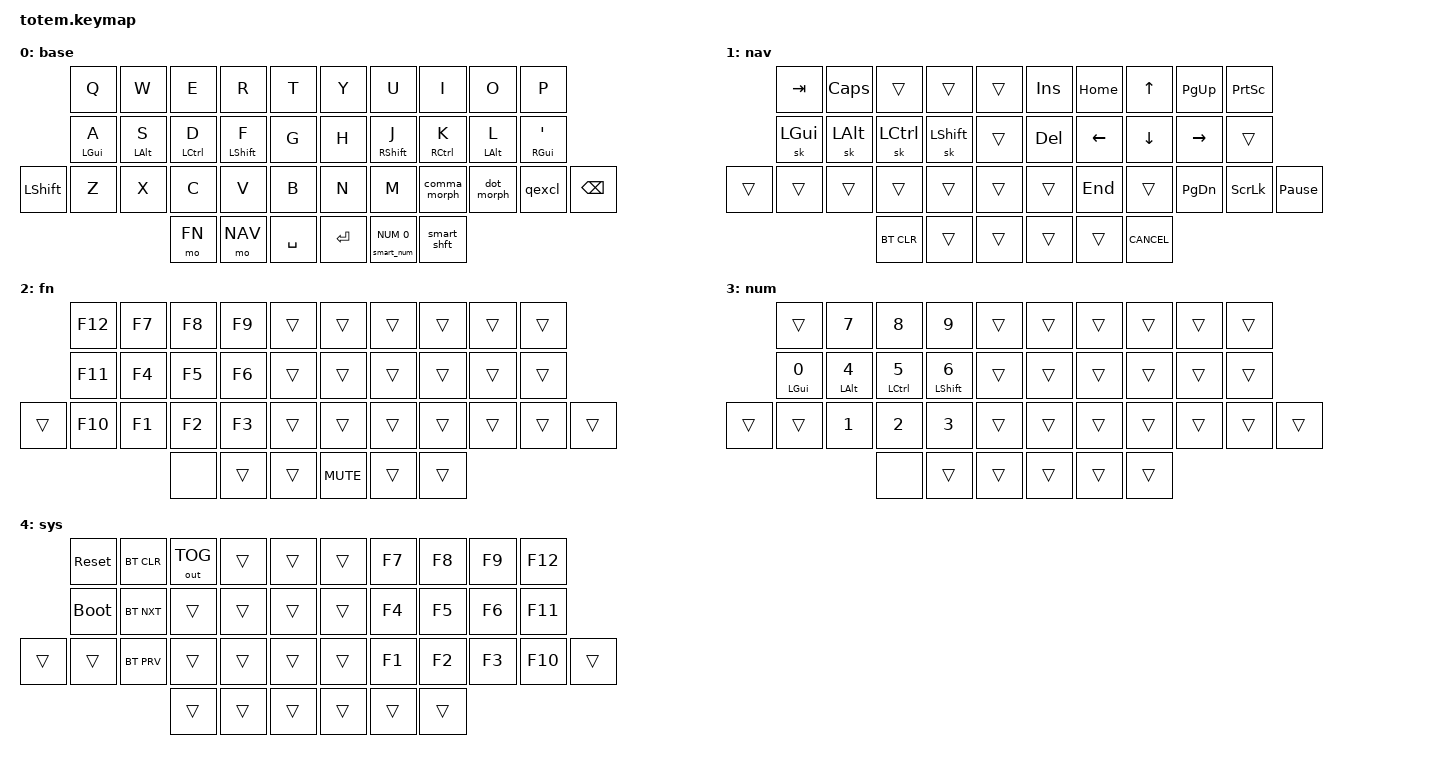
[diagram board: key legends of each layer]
//
//                                                        ▀▀▀▀▀     ▀▀▀▀▀          ▀▀█▀▀
//                                                        ▄▀▀▀▄  ▄  ▄▀▀▀▄  ▄  ▄▀▀▀▄  █  ▄▀▀▀▄
//                                                        █   █  █  █   █  █  █   █  █  █   █
//                                                         ▀▀▀   █   ▀▀▀   █   ▀▀▀   ▀   ▀▀▀
//                                                               █      ▄▄▄█▄▄▄    █   █  
//                                                               ▀      █  █  █     █▄█
//                                                             ▀▀▀▀▀    █  █  █      ▀
//                                                                      ▀  ▀  ▀
//
// ▄▄▄▄▄▄▄▄▄▄▄▄▄▄▄▄▄▄▄▄▄▄▄▄▄▄▄▄▄▄▄▄▄▄▄▄▄▄▄▄▄▄▄▄▄▄▄▄▄▄▄▄▄▄▄▄▄▄▄▄▄▄▄▄▄▄▄▄▄▄▄▄▄▄▄▄▄▄▄▄▄▄▄▄▄▄▄▄▄▄▄▄▄▄▄▄▄▄▄▄▄▄▄▄▄▄▄▄▄▄▄▄▄▄▄▄▄▄▄▄▄▄▄▄▄▄▄▄▄▄▄▄▄▄▄▄▄▄▄▄▄▄▄▄▄▄▄▄▄
       

#include <behaviors.dtsi>
#include <dt-bindings/zmk/keys.h>
#include <dt-bindings/zmk/bt.h>
#include <dt-bindings/zmk/outputs.h>

#include "../zmk-nodefree-config/helper.h"
#include "../zmk-nodefree-config/keypos_def/keypos_38keys.h"                    // keyposition helpers

#define BASE 0
#define NAV  1
#define FN   2
#define NUM  3
#define SYS  4

#include "combos.dtsi"  // requires layer aliases

#define ___ &trans
#define XXX &none

/* Global settings */

#define QUICK_TAP_MS 175

&sk {  // sticky-key config
    release-after-ms = <900>;  // release after 0.6s
    quick-release;             // no double capitalization when rolling keys
};

/* Homerow mods */

#define KEYS_L LT0 LT1 LT2 LT3 LT4 LM0 LM1 LM2 LM3 LM4 LB0 LB1 LB2 LB3 LB4 LB5  // left-hand keys
#define KEYS_R RT0 RT1 RT2 RT3 RT4 RM0 RM1 RM2 RM3 RM4 RB0 RB1 RB2 RB3 RB4 RB5  // right-hand keys
#define THUMBS LH2 LH1 LH0 RH0 RH1 RH2                                          // thumb keys

#define MAKE_HRM(NAME, HOLD, TAP, TRIGGER_POS) \
    ZMK_BEHAVIOR(NAME, hold_tap, \
        flavor = "balanced"; \
        tapping-term-ms = <280>; \
        quick-tap-ms = <QUICK_TAP_MS>; \
        global-quick-tap-ms = <150>; \
        bindings = <HOLD>, <TAP>; \
        hold-trigger-key-positions = <TRIGGER_POS>; \
        hold-trigger-on-release; \
    )

MAKE_HRM(hml, &kp, &kp, KEYS_R THUMBS)  // left-hand HRMs
MAKE_HRM(hmr, &kp, &kp, KEYS_L THUMBS)  // right-hand HRMs

MAKE_HRM(hml_repeat, &kp, &key_repeat, KEYS_R THUMBS)  // used for HRM-combo
MAKE_HRM(hmr_lpar_lt, &kp, &lpar_lt, KEYS_L THUMBS)    // "    "   "   "
MAKE_HRM(hmr_rpar_gt, &kp, &rpar_gt, KEYS_L THUMBS)    // "    "   "   "

/* Caps-word, num-word */

// tap: sticky-shift | shift + tap/ double-tap: caps-word | hold: shift
ZMK_BEHAVIOR(smart_shft, mod_morph,
    bindings = <&sk LSHFT>, <&caps_word>;
    mods = <(MOD_LSFT)>;
)
&caps_word {  // mods deactivate caps-word, requires PR #1451
    /delete-property/ ignore-modifiers;
};

// tap: num-word | double-tap: sticky num-layer | hold: num-layer
#define SMART_NUM &smart_num NUM 0
ZMK_BEHAVIOR(smart_num, hold_tap,
    flavor = "balanced";
    tapping-term-ms = <200>;
    quick-tap-ms = <QUICK_TAP_MS>;
    bindings = <&mo>, <&num_dance>;
)
ZMK_BEHAVIOR(num_dance, tap_dance,
    tapping-term-ms = <200>;
    bindings = <&sl NUM>, <&num_word>;  // reverse this for sticky-num on double
)
&num_word {  // num-word, requires PR #1451
    layers = <NUM>;
    continue-list = <BSPC DEL DOT COMMA PLUS MINUS STAR FSLH EQUAL>;
};

/* Custom behaviours */

// tap: comma | shift + tap: semicolon | ctrl + shift + tap: <
ZMK_BEHAVIOR(comma_morph, mod_morph,
    mods = <(MOD_LSFT|MOD_RSFT)>;
    bindings = <&kp COMMA>, <&comma_inner_morph>;
)
ZMK_BEHAVIOR(comma_inner_morph, mod_morph,
    bindings = <&kp SEMICOLON>, <&kp LESS_THAN>;
    mods = <(MOD_LCTL|MOD_RCTL)>;
)

// tap: dot | shift + tap: colon | ctrl + shift + tap: >
ZMK_BEHAVIOR(dot_morph, mod_morph,
    bindings = <&kp DOT>, <&dot_inner_morph>;
    mods = <(MOD_LSFT|MOD_RSFT)>;
)
ZMK_BEHAVIOR(dot_inner_morph, mod_morph,
    bindings = <&kp COLON>, <&kp GREATER_THAN>;
    mods = <(MOD_LCTL|MOD_RCTL)>;
)

// tap: qmark | shift + tap: excl
ZMK_BEHAVIOR(qexcl, mod_morph,
    bindings = <&kp QMARK>, <&kp EXCL>;
    mods = <(MOD_LSFT|MOD_RSFT)>;
)

// tap: left-parenthesis | shft + tap: less-than
ZMK_BEHAVIOR(lpar_lt, mod_morph,
    bindings = <&kp LPAR>, <&kp LT>;
    mods = <(MOD_LSFT|MOD_RSFT)>;
)

// tap: right-parenthesis | shft + tap: greater-than
ZMK_BEHAVIOR(rpar_gt, mod_morph,
    bindings = <&kp RPAR>, <&kp GT>;
    mods = <(MOD_LSFT|MOD_RSFT)>;
)

// misc aliases
#define CANCEL      &kp K_CANCEL             // cancel caps-word, num-word and smart-mouse

/* Keymap */

ZMK_CONDITIONAL_LAYER(FN NUM, SYS)  // FN + NUM --> SYS

ZMK_LAYER(base,
//               ╭─────────────┬─────────────┬─────────────┬─────────────┬─────────────╮ ╭─────────────┬─────────────┬─────────────┬─────────────┬─────────────╮
                   &kp Q         &kp W         &kp E         &kp R         &kp T           &kp Y         &kp U         &kp I         &kp O         &kp P
//               ├─────────────┼─────────────┼─────────────┼─────────────┼─────────────┤ ├─────────────┼─────────────┼─────────────┼─────────────┼─────────────┤
                   &hml LGUI A   &hml LALT S   &hml LCTRL D  &hml LSHFT F  &kp G           &kp H         &hmr RSHFT J  &hmr RCTRL K  &hmr LALT L   &hmr RGUI SQT
// ╭─────────────╯─────────────┼─────────────┼─────────────┼─────────────┼─────────────┤ ├─────────────┼─────────────┼─────────────┼─────────────┼─────────────╰──────────────╮
     &kp LSHFT     &kp Z         &kp X         &kp C         &kp V         &kp B           &kp N         &kp M         &comma_morph  &dot_morph    &qexcl        &kp BSPC
// ╰─────────────┴─────────────┴─────────────╮─────────────┼─────────────┼─────────────┤ ├─────────────┼─────────────┼─────────────╭─────────────┴─────────────┴──────────────╯
                                               &mo FN        &mo NAV       &kp SPACE       &kp RET       SMART_NUM     &smart_shft
//                                           ╰─────────────┴─────────────┴─────────────╯ ╰─────────────┴─────────────┴─────────────╯
)

ZMK_LAYER(nav,
//               ╭─────────────┬─────────────┬─────────────┬─────────────┬─────────────╮ ╭─────────────┬─────────────┬─────────────┬─────────────┬─────────────╮
                   &kp TAB       &kp CAPS      ___           ___           ___             &kp INS       &kp HOME      &kp UP        &kp PG_UP     &kp PSCRN
//               ├─────────────┼─────────────┼─────────────┼─────────────┼─────────────┤ ├─────────────┼─────────────┼─────────────┼─────────────┼─────────────┤
                   &sk LGUI      &sk LALT      &sk LCTRL     &sk LSHFT     ___             &kp DEL       &kp LEFT      &kp DOWN      &kp RIGHT     ___
// ╭─────────────╯─────────────┼─────────────┼─────────────┼─────────────┼─────────────┤ ├─────────────┼─────────────┼─────────────┼─────────────┼─────────────╰──────────────╮
     ___           ___           ___           ___           ___           ___             ___           &kp END       ___           &kp PG_DN     &kp SLCK      &kp PAUSE_BREAK
// ╰─────────────┴─────────────┴─────────────╮─────────────┼─────────────┼─────────────┤ ├─────────────┼─────────────┼─────────────╭─────────────┴─────────────┴──────────────╯
                                               &bt BT_CLR    ___           ___             ___           ___           CANCEL
//                                           ╰─────────────┴─────────────┴─────────────╯ ╰─────────────┴─────────────┴─────────────╯
)

ZMK_LAYER(fn,
//               ╭─────────────┬─────────────┬─────────────┬─────────────┬─────────────╮ ╭─────────────┬─────────────┬─────────────┬─────────────┬─────────────╮
                   &kp F12       &kp F7        &kp F8        &kp F9        ___             ___           ___           ___           ___           ___
//               ├─────────────┼─────────────┼─────────────┼─────────────┼─────────────┤ ├─────────────┼─────────────┼─────────────┼─────────────┼─────────────┤
                   &kp F11       &kp F4        &kp F5        &kp F6        ___             ___           ___           ___           ___           ___
// ╭─────────────╯─────────────┼─────────────┼─────────────┼─────────────┼─────────────┤ ├─────────────┼─────────────┼─────────────┼─────────────┼─────────────╰──────────────╮
     ___           &kp F10       &kp F1        &kp F2        &kp F3        ___             ___           ___           ___           ___           ___           ___
// ╰─────────────┴─────────────┴─────────────╮─────────────┼─────────────┼─────────────┤ ├─────────────┼─────────────┼─────────────╭─────────────┴─────────────┴──────────────╯
                                               XXX           ___           ___             &kp C_MUTE    ___           ___
//                                           ╰─────────────┴─────────────┴─────────────╯ ╰─────────────┴─────────────┴─────────────╯
)

ZMK_LAYER(num,
//               ╭─────────────┬─────────────┬─────────────┬─────────────┬─────────────╮ ╭─────────────┬─────────────┬─────────────┬─────────────┬─────────────╮
                   ___           &kp N7        &kp N8        &kp N9        ___             ___           ___           ___           ___           ___
//               ├─────────────┼─────────────┼─────────────┼─────────────┼─────────────┤ ├─────────────┼─────────────┼─────────────┼─────────────┼─────────────┤
                   &hml LGUI N0  &hml LALT N4  &hml LCTRL N5 &hml LSHFT N6 ___             ___           ___           ___           ___           ___
// ╭─────────────╯─────────────┼─────────────┼─────────────┼─────────────┼─────────────┤ ├─────────────┼─────────────┼─────────────┼─────────────┼─────────────╰──────────────╮
     ___           ___           &kp N1        &kp N2        &kp N3        ___             ___           ___           ___           ___           ___           ___
// ╰─────────────┴─────────────┴─────────────╮─────────────┼─────────────┼─────────────┤ ├─────────────┼─────────────┼─────────────╭─────────────┴─────────────┴──────────────╯
                                               XXX           ___           ___             ___           ___           ___
//                                           ╰─────────────┴─────────────┴─────────────╯ ╰─────────────┴─────────────┴─────────────╯
)

ZMK_LAYER(sys,
//               ╭─────────────┬─────────────┬─────────────┬─────────────┬─────────────╮ ╭─────────────┬─────────────┬─────────────┬─────────────┬─────────────╮
                   &sys_reset    &bt BT_CLR    &out OUT_TOG  ___           ___             ___           &kp F7        &kp F8        &kp F9        &kp F12
//               ├─────────────┼─────────────┼─────────────┼─────────────┼─────────────┤ ├─────────────┼─────────────┼─────────────┼─────────────┼─────────────┤
                   &bootloader   &bt BT_NXT    ___           ___           ___             ___           &kp F4        &kp F5        &kp F6        &kp F11
// ╭─────────────╯─────────────┼─────────────┼─────────────┼─────────────┼─────────────┤ ├─────────────┼─────────────┼─────────────┼─────────────┼─────────────╰──────────────╮
     ___           ___           &bt BT_PRV    ___           ___           ___             ___           &kp F1        &kp F2        &kp F3        &kp F10       ___
// ╰─────────────┴─────────────┴─────────────╮─────────────┼─────────────┼─────────────┤ ├─────────────┼─────────────┼─────────────╭─────────────┴─────────────┴──────────────╯
                                               ___           ___           ___             ___           ___           ___
//                                           ╰─────────────┴─────────────┴─────────────╯ ╰─────────────┴─────────────┴─────────────╯
)
